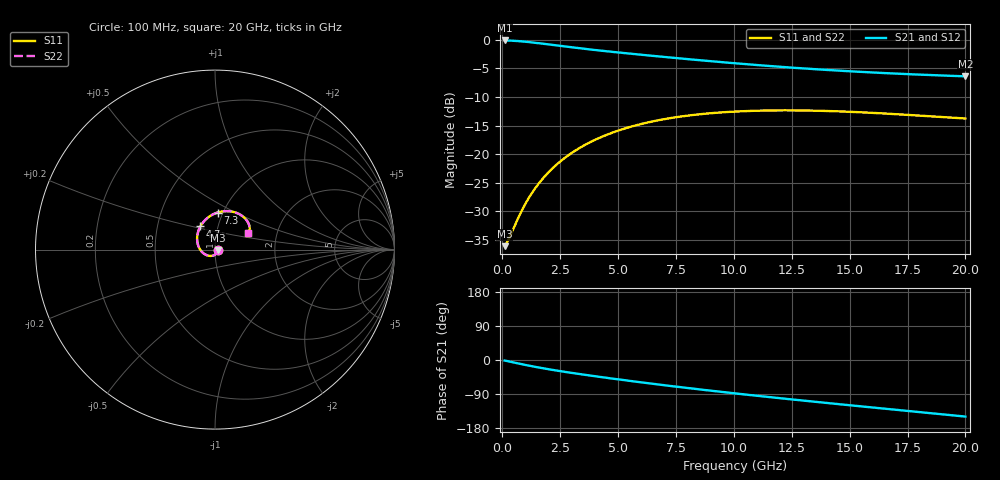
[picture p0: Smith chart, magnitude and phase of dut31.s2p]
! Created with skrf 1.9.0 (http://scikit-rf.org).
# GHz S RI R 50.0
!freq ReS11 ImS11 ReS21 ImS21 ReS12 ImS12 ReS22 ImS22
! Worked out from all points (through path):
!   200 points, 100 MHz to 20 GHz, reference 50 ohm
!   highest |S21| = -0.14 dB at 100 MHz (marker M1); lowest = -6.4 dB at 20 GHz (marker M2)
!   group delay of S21, straight-line fit = 19.6 ps
!   lowest |S11| = -36.1 dB at 100 MHz (marker M3), VSWR 1.03, Z = 51.5 - j0.4 ohm
!   |S11| at or under -10 dB: start of sweep to end of sweep
!   |S22| runs from -36.1 to -12.3 dB; largest |S21 - S12| = 2.5e-15
!   S11 on the Smith chart (normalised r, x): 100 MHz: 1.03, -0.01; 4.7 GHz: 0.82, +0.22; 7.3 GHz: 0.94, +0.41; 20 GHz: 1.42, +0.27
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0.1  0.0152 -0.00388  0.9839 -0.024  0.9839 -0.024  0.0152 -0.00388
0.3  0.0129 -0.0133  0.9792 -0.0697  0.9792 -0.0697  0.0129 -0.0133
0.7  0.000146 -0.0281  0.9584 -0.1573  0.9584 -0.1573  0.000146 -0.0281
1  -0.0142 -0.0341  0.9345 -0.2174  0.9345 -0.2174  -0.0142 -0.0341
1.3  -0.0306 -0.035  0.9054 -0.2716  0.9054 -0.2716  -0.0306 -0.035
1.6  -0.0472 -0.0307  0.873 -0.3198  0.873 -0.3198  -0.0472 -0.0307
2  -0.0672 -0.0181  0.827 -0.3752  0.827 -0.3752  -0.0672 -0.0181
2.5  -0.0861 0.00552  0.7681 -0.4328  0.7681 -0.4328  -0.0861 0.00552
3  -0.0968 0.0339  0.7096 -0.48  0.7096 -0.48  -0.0968 0.0339
3.5  -0.0996 0.0638  0.6521 -0.5193  0.6521 -0.5193  -0.0996 0.0638
4.7  -0.0813 0.1293  0.5185 -0.5888  0.5185 -0.5888  -0.0813 0.1293
5.7  -0.049 0.1701  0.4118 -0.6251  0.4118 -0.6251  -0.049 0.1701
6.8  -0.00588 0.1988  0.3003 -0.646  0.3003 -0.646  -0.00588 0.1988
7.3  0.0143 0.2067  0.2521 -0.6497  0.2521 -0.6497  0.0143 0.2067
8.6  0.0645 0.2145  0.1352 -0.6453  0.1352 -0.6453  0.0645 0.2145
10.1  0.1133 0.2069  0.0166 -0.6206  0.0166 -0.6206  0.1133 0.2069
11.7  0.1518 0.1873  -0.091 -0.5783  -0.091 -0.5783  0.1518 0.1873
13.4  0.1777 0.1615  -0.1861 -0.5218  -0.1861 -0.5218  0.1777 0.1615
15  0.19 0.1375  -0.26 -0.4614  -0.26 -0.4614  0.19 0.1375
16.7  0.1933 0.1159  -0.3243 -0.3918  -0.3243 -0.3918  0.1933 0.1159
18.3  0.1901 0.1011  -0.3726 -0.322  -0.3726 -0.322  0.1901 0.1011
20  0.1831 0.0922  -0.4115 -0.2442  -0.4115 -0.2442  0.1831 0.0922
